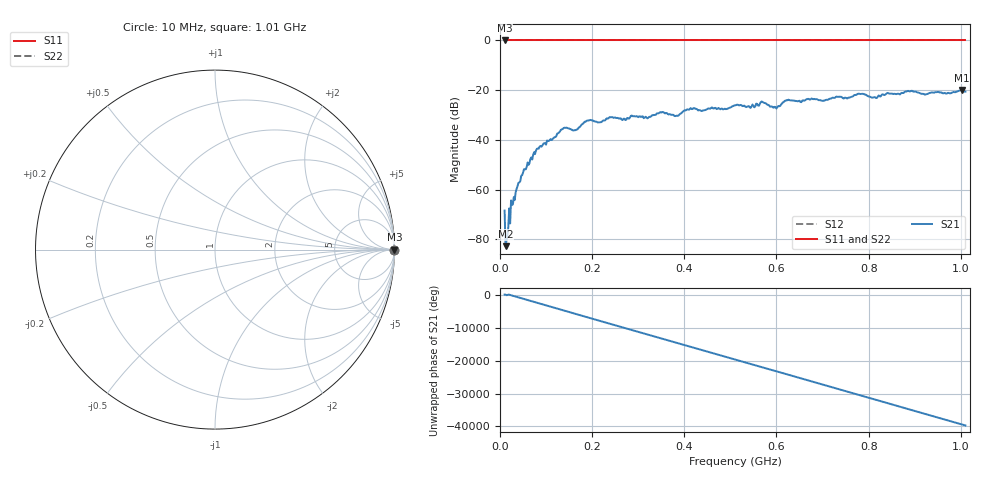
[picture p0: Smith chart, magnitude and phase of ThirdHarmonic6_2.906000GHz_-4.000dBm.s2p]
! 8/17/2025 8:02:36 AM
! C:\ANRITSUVNA\TEMP\TEMP.S2P
! CHANNEL.1
! TR.MEASUREMENT
! RAW.DATA
! RF.CORRECTION.OFF
! AVERAGING.OFF
! IF.BANDWIDTH: 5KHZ
! SWEEPTYPE:  FREQ.SWEEP(Linear)
! Reference Plane Port Info
! PORT:  PORT1  PORT2
! DISTANCE:  0  m  0  m
! TIME:  0  s  0  s
! PHASE.OFFSET:  0  deg.  0  deg.
! LOSS:  0  dB  0  dB
! REF.LOSS:  0  dB  0  dB
! REF.FREQ:  0  Hz  0  Hz
! Power Info
! POWER:  -20  dBm  -20  dBm
! EFF.POWER:  -20  dBm  -20  dBm
! SOURCE.ATTEN:  0  dB  0  dB
! TEST.ATTEN:  0  dB  0  dB
# GHZ S RI R 50.0
! FREQ.GHZ  S11RE  S11IM  S21RE  S21IM  S12RE  S12IM  S22RE  S22IM
!; PortSelection: Port_12
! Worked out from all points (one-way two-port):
!   501 points, 10 MHz to 1.01 GHz, reference 50 ohm
!   highest |S21| = -19.93 dB at 1.002 GHz (marker M1); lowest = -82.7 dB at 12 MHz (marker M2)
!   lowest |S11| = 0.0 dB at 10 MHz (marker M3)
!   |S11| at or under -10 dB: nowhere
!   |S22| runs from 0.0 to 0.0 dB; largest |S21 - S12| = 1.1
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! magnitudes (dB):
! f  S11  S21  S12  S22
! 10 MHz  0.0  -68.4  0.0  0.0
! 12 MHz  0.0  -82.7  0.0  0.0
! 16 MHz  0.0  -78.5  0.0  0.0
! 28 MHz  0.0  -65.8  0.0  0.0
! 50 MHz  0.0  -53.1  0.0  0.0
! 78 MHz  0.0  -44.2  0.0  0.0
! 136 MHz  0.0  -35.6  0.0  0.0
! 164 MHz  0.0  -36.1  0.0  0.0
! 178 MHz  0.0  -33.7  0.0  0.0
! 192 MHz  0.0  -32.2  0.0  0.0
! 322 MHz  0.0  -31.0  0.0  0.0
! 344 MHz  0.0  -29.3  0.0  0.0
! 384 MHz  0.0  -30.2  0.0  0.0
! 416 MHz  0.0  -27.6  0.0  0.0
! 510 MHz  0.0  -26.1  0.0  0.0
! 570 MHz  0.0  -24.7  0.0  0.0
! 598 MHz  0.0  -26.8  0.0  0.0
! 622 MHz  0.0  -24.0  0.0  0.0
! 678 MHz  0.0  -23.5  0.0  0.0
! 844 MHz  0.0  -21.3  0.0  0.0
! 1.002 GHz  0.0  -19.9  0.0  0.0
! 1.01 GHz  0.0  -20.6  0.0  0.0
